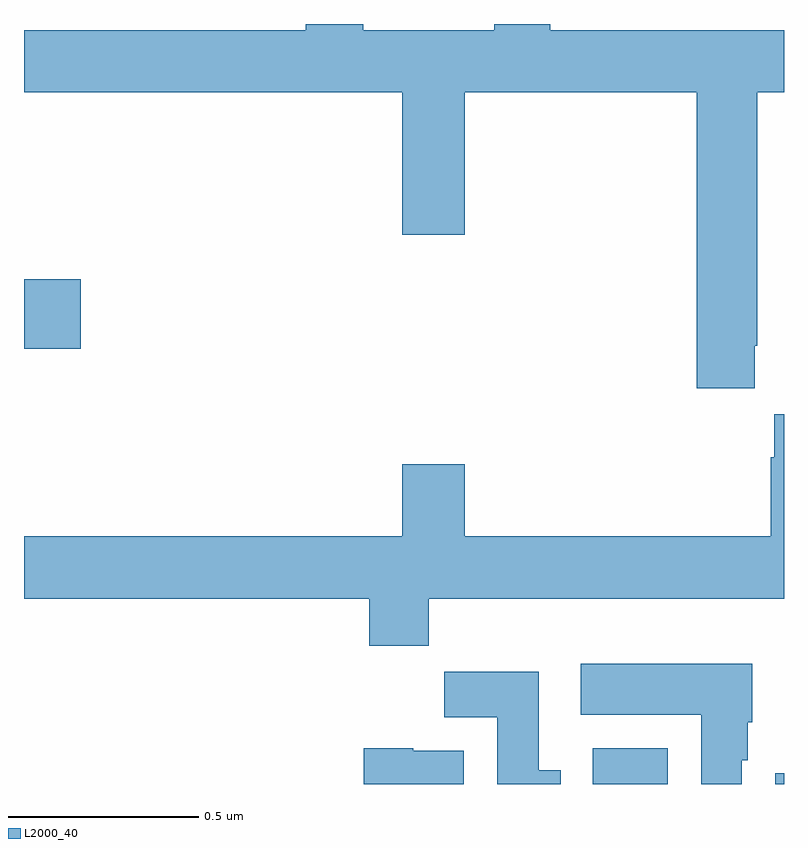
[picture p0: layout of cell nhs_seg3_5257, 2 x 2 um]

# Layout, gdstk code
import gdstk
lib = gdstk.Library(unit=1e-6, precision=1e-09)
def R(c, l, rs):  # rectangles x0, y0, x1, y1
    for r in rs: c.add(gdstk.rectangle(r[:2], r[2:], *l))
def P(c, l, *ps):  # polygons
    for p in ps: c.add(gdstk.Polygon(p, *l))
L2000_40 = (2000, 40)

nhs_seg3_5257 = lib.new_cell('nhs_seg3_5257')
R(nhs_seg3_5257, L2000_40, [(177.497,728.4,177.694,728.494), (177.977,728.4,178,728.428), (176,729.545,176.149,729.728)])
P(nhs_seg3_5257, L2000_40, [(177.923,729.553),(177.93,729.553),(177.93,730.22),(178,730.22),(178,730.384),(177.385,730.384),(177.385,730.4),(177.238,730.4),(177.238,730.384),(176.893,730.384),(176.893,730.4),(176.741,730.4),(176.741,730.384),(176,730.384),(176,730.22),(176.996,730.22),(176.996,729.846),(177.16,729.846),(177.16,730.22),(177.77,730.22),(177.77,729.441),(177.923,729.441)],
  [(177.065,728.888),(178,728.888),(178,729.373),(177.974,729.373),(177.974,729.26),(177.965,729.26),(177.965,729.052),(177.16,729.052),(177.16,729.241),(176.996,729.241),(176.996,729.052),(176,729.052),(176,728.888),(176.909,728.888),(176.909,728.764),(177.065,728.764)],
  [(177.889,728.462),(177.904,728.462),(177.904,728.562),(177.916,728.562),(177.916,728.716),(177.465,728.716),(177.465,728.582),(177.782,728.582),(177.782,728.4),(177.889,728.4)],
  [(177.412,728.436),(177.355,728.436),(177.355,728.695),(177.106,728.695),(177.106,728.576),(177.245,728.576),(177.245,728.4),(177.412,728.4)],
  [(177.157,728.488),(177.024,728.488),(177.024,728.494),(176.894,728.494),(176.894,728.4),(177.157,728.4)])

lib.write_gds('nhs_seg3_5257.gds')
